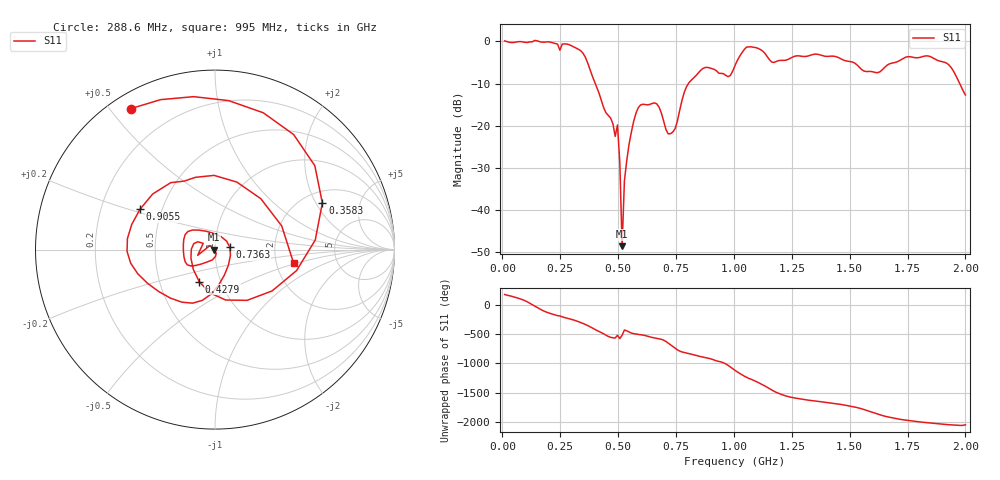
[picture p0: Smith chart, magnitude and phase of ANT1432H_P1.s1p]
!Created with skrf (http://scikit-rf.org).
# Hz S RI R 50.0
!freq ReS11 ImS11
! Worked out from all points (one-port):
!   201 points, 10 MHz to 2 GHz, reference 50 ohm
!   lowest |S11| = -48.7 dB at 517.5 MHz (marker M1), VSWR 1.01, Z = 49.7 - j0.118 ohm
!   |S11| at or under -10 dB: 401.7 MHz to 803.9 MHz (402.2 MHz wide, 66.7 % of centre); 1.975 GHz to end of sweep
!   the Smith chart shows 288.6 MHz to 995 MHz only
!   S11 on the Smith chart (normalised r, x): 288.6 MHz: 0.06, +0.57; 358.2 MHz: 2.51, +2.27; 427.9 MHz: 0.79, -0.29; 736.4 MHz: 1.18, +0.03; 905.5 MHz: 0.38, +0.22; 995 MHz: 2.50, -0.46
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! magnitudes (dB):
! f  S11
! 10 MHz  0.1
! 258.8 MHz  -0.6
! 288.6 MHz  -0.8
! 358.2 MHz  -3.7
! 427.9 MHz  -14.0
! 487.6 MHz  -22.6
! 497.6 MHz  -19.9
! 507.5 MHz  -28.8
! 517.5 MHz  -48.7
! 527.4 MHz  -33.2
! 537.4 MHz  -28.4
! 587.1 MHz  -15.8
! 666.7 MHz  -14.8
! 716.5 MHz  -22.0
! 736.4 MHz  -21.5
! 756.2 MHz  -18.9
! 806 MHz  -9.8
! 905.5 MHz  -6.5
! 995 MHz  -7.1
! 1.005 GHz  -5.7
! 1.055 GHz  -1.4
! 1.164 GHz  -4.9
! 1.254 GHz  -3.7
! 1.502 GHz  -4.8
! 1.622 GHz  -7.4
! 1.751 GHz  -3.6
! 1.92 GHz  -5.2
! 2 GHz  -12.7
